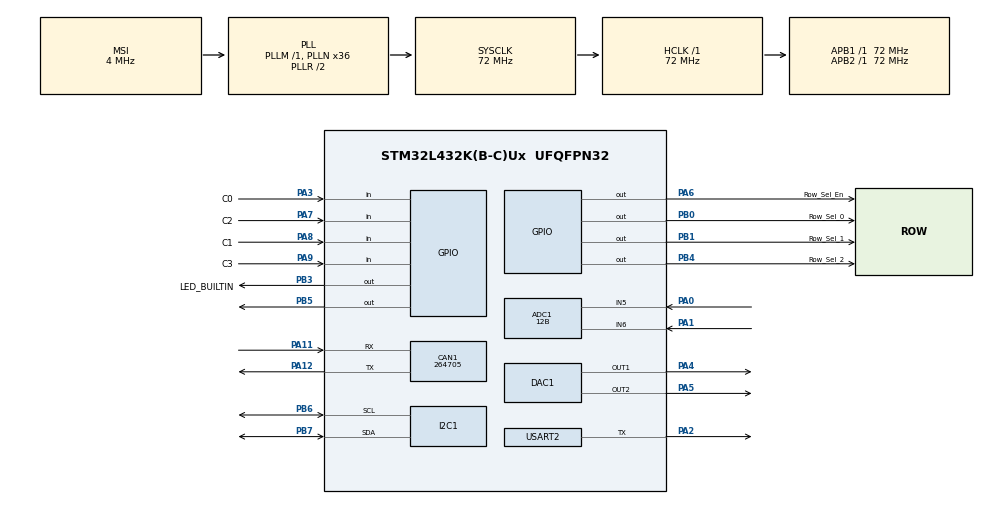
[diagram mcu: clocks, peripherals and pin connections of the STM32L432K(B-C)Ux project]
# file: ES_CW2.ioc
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ADC1.Channel-3\#ChannelRegularConversion=ADC_CHANNEL_5
ADC1.Channel-4\#ChannelRegularConversion=ADC_CHANNEL_6
ADC1.ContinuousConvMode=ENABLE
ADC1.DMAContinuousRequests=ENABLE
ADC1.DiscontinuousConvMode=DISABLE
ADC1.EOCSelection=ADC_EOC_SEQ_CONV
ADC1.EnableAnalogWatchDog1=false
ADC1.EnableRegularConversion=ENABLE
ADC1.ExternalTrigConv=ADC_SOFTWARE_START
ADC1.NbrOfConversion=2
ADC1.NbrOfConversionFlag=1
ADC1.OffsetNumber-3\#ChannelRegularConversion=ADC_OFFSET_NONE
ADC1.OffsetNumber-4\#ChannelRegularConversion=ADC_OFFSET_NONE
ADC1.Overrun=ADC_OVR_DATA_OVERWRITTEN
ADC1.Rank-3\#ChannelRegularConversion=1
ADC1.Rank-4\#ChannelRegularConversion=2
ADC1.Resolution=ADC_RESOLUTION_12B
ADC1.SamplingTime-3\#ChannelRegularConversion=ADC_SAMPLETIME_247CYCLES_5
ADC1.SamplingTime-4\#ChannelRegularConversion=ADC_SAMPLETIME_247CYCLES_5
ADC1.master=1
CAN1.BS1=CAN_BS1_8TQ
CAN1.BS2=CAN_BS2_8TQ
CAN1.CalculateBaudRate=264705
CAN1.CalculateTimeBit=3777
CAN1.CalculateTimeQuantum=222.22222222222223
DAC1.DAC_Channel-DAC_OUT2=DAC_CHANNEL_2
DAC1.DAC_Trigger-DAC_OUT1=DAC_TRIGGER_T7_TRGO
Dma.ADC1.0.Direction=DMA_PERIPH_TO_MEMORY
Dma.ADC1.0.Instance=DMA2_Channel3
Dma.ADC1.0.MemDataAlignment=DMA_MDATAALIGN_WORD
Dma.ADC1.0.MemInc=DMA_MINC_ENABLE
Dma.ADC1.0.Mode=DMA_CIRCULAR
Dma.ADC1.0.PeriphDataAlignment=DMA_PDATAALIGN_WORD
Dma.ADC1.0.PeriphInc=DMA_PINC_DISABLE
Dma.ADC1.0.Priority=DMA_PRIORITY_LOW
Dma.DAC_CH1.1.Direction=DMA_MEMORY_TO_PERIPH
Dma.DAC_CH1.1.Instance=DMA1_Channel3
Dma.DAC_CH1.1.MemDataAlignment=DMA_MDATAALIGN_WORD
Dma.DAC_CH1.1.MemInc=DMA_MINC_ENABLE
Dma.DAC_CH1.1.Mode=DMA_CIRCULAR
Dma.DAC_CH1.1.PeriphDataAlignment=DMA_PDATAALIGN_WORD
Dma.DAC_CH1.1.PeriphInc=DMA_PINC_DISABLE
Dma.DAC_CH1.1.Priority=DMA_PRIORITY_HIGH
Dma.Request0=ADC1
Dma.Request1=DAC_CH1
Dma.Request2=USART2_TX
Dma.USART2_TX.2.Direction=DMA_MEMORY_TO_PERIPH
Dma.USART2_TX.2.Instance=DMA1_Channel7
Dma.USART2_TX.2.MemDataAlignment=DMA_MDATAALIGN_BYTE
Dma.USART2_TX.2.MemInc=DMA_MINC_ENABLE
Dma.USART2_TX.2.Mode=DMA_NORMAL
Dma.USART2_TX.2.PeriphDataAlignment=DMA_PDATAALIGN_BYTE
Dma.USART2_TX.2.PeriphInc=DMA_PINC_DISABLE
Dma.USART2_TX.2.Priority=DMA_PRIORITY_MEDIUM
FREERTOS.Tasks01=defaultTask,24,128,StartDefaultTask,Default,NULL,Dynamic,NULL,NULL
FREERTOS.configENABLE_FPU=1
FREERTOS.configTOTAL_HEAP_SIZE=10000
I2C1.GeneralCallMode=I2C_GENERALCALL_ENABLE
I2C1.Timing=0x10808DD3
Mcu.Family=STM32L4
Mcu.Name=STM32L432K(B-C)Ux
Mcu.Package=UFQFPN32
NVIC.CAN1_RX0_IRQn=true\:5\:0\:false\:false\:true\:true\:true\:true
NVIC.CAN1_TX_IRQn=true\:5\:0\:false\:false\:true\:true\:true\:true
NVIC.DMA1_Channel3_IRQn=true\:5\:0\:false\:false\:true\:true\:false\:true
NVIC.DMA1_Channel7_IRQn=true\:5\:0\:false\:false\:true\:true\:false\:true
NVIC.DMA2_Channel3_IRQn=true\:5\:0\:false\:false\:true\:true\:false\:true
NVIC.PriorityGroup=NVIC_PRIORITYGROUP_4
NVIC.USART2_IRQn=true\:5\:0\:false\:false\:true\:true\:true\:true
PA0.Signal=ADCx_IN5
PA1.Signal=ADCx_IN6
PA11.Mode=CAN_Activate
PA11.Signal=CAN1_RX
PA12.Mode=CAN_Activate
PA12.Signal=CAN1_TX
PA2.Mode=Half_duplex(single_wire_mode)
PA2.Signal=USART2_TX
PA3.GPIO_Label=C0
PA3.Signal=GPIO_Input
PA4.Signal=COMP_DAC11_group
PA5.Signal=COMP_DAC12_group
PA6.GPIO_Label=Row_Sel_En
PA6.Signal=GPIO_Output
PA7.GPIO_Label=C2
PA7.Signal=GPIO_Input
PA8.GPIO_Label=C1
PA8.Signal=GPIO_Input
PA9.GPIO_Label=C3
PA9.Signal=GPIO_Input
PB0.GPIO_Label=Row_Sel_0
PB0.Signal=GPIO_Output
PB1.GPIO_Label=Row_Sel_1
PB1.Signal=GPIO_Output
PB3\ (JTDO-TRACESWO).GPIO_Label=LED_BUILTIN
PB3\ (JTDO-TRACESWO).Signal=GPIO_Output
PB4\ (NJTRST).GPIO_Label=Row_Sel_2
PB4\ (NJTRST).Signal=GPIO_Output
PB5.Signal=GPIO_Output
PB6.Mode=I2C
PB6.Signal=I2C1_SCL
PB7.Mode=I2C
PB7.Signal=I2C1_SDA
PC14-OSC32_IN\ (PC14).Mode=LSE-External-Oscillator
PC14-OSC32_IN\ (PC14).Signal=RCC_OSC32_IN
PC15-OSC32_OUT\ (PC15).Mode=LSE-External-Oscillator
PC15-OSC32_OUT\ (PC15).Signal=RCC_OSC32_OUT
ProjectManager.HeapSize=0x200
ProjectManager.StackSize=0x400
ProjectManager.TargetToolchain=Other Toolchains (GPDSC)
RCC.ADCFreq_Value=32000000
RCC.AHBFreq_Value=72000000
RCC.APB1Freq_Value=72000000
RCC.APB1TimFreq_Value=72000000
RCC.APB2Freq_Value=72000000
RCC.APB2TimFreq_Value=72000000
RCC.CortexFreq_Value=72000000
RCC.HCLKFreq_Value=72000000
RCC.HSE_VALUE=8000000
RCC.HSI48_VALUE=48000000
RCC.HSI_VALUE=16000000
RCC.MSIAutoCalibration=DISABLED
RCC.MSI_VALUE=4000000
RCC.PLLN=36
RCC.PLLSAI1N=16
RCC.SYSCLKFreq_VALUE=72000000
RCC.SYSCLKSource=RCC_SYSCLKSOURCE_PLLCLK
RCC.USBFreq_Value=32000000
RCC.VCOOutputFreq_Value=144000000
SH.ADCx_IN5.0=ADC1_IN5,IN5-Single-Ended
SH.ADCx_IN6.0=ADC1_IN6,IN6-Single-Ended
SH.COMP_DAC11_group.0=DAC1_OUT1,DAC_OUT1
SH.COMP_DAC12_group.0=DAC1_OUT2,DAC_OUT2
TIM1.Period=0xffff-1
TIM1.Prescaler=72-1
TIM2.Period=0xffffffff
TIM2.Prescaler=36000-1
TIM2.TIM_MasterOutputTrigger=TIM_TRGO_UPDATE
TIM6.Prescaler=144-1
TIM7.Period=3273
TIM7.TIM_MasterOutputTrigger=TIM_TRGO_UPDATE
USART2.AutoBaudRateEnableParam=UART_ADVFEATURE_AUTOBAUDRATE_DISABLE
USART2.BaudRate=460800
USART2.Mode=MODE_TX
USART2.OneBitSampling=UART_ONE_BIT_SAMPLE_ENABLE
USART2.OverrunDisableParam=ADVFEATURE_OVERRUN_DISABLE
USART2.VirtualMode-Half_duplex(single_wire_mode)=VM_ASYNC
VP_FREERTOS_VS_CMSIS_V2.Mode=CMSIS_V2
VP_TIM1_VS_ClockSourceINT.Mode=Internal
VP_TIM2_VS_ClockSourceINT.Mode=Internal
VP_TIM6_VS_ClockSourceINT.Mode=Enable_Timer
VP_TIM7_VS_ClockSourceINT.Mode=Enable_Timer
board=custom

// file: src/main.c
/* USER CODE BEGIN Header */
/**
  ******************************************************************************
  * @file           : main.c
  * @brief          : Main program body
  ******************************************************************************
  * @attention
  *
  * Copyright (c) 2022 STMicroelectronics.
  * All rights reserved.
  *
  * This software is licensed under terms that can be found in the LICENSE file
  * in the root directory of this software component.
  * If no LICENSE file comes with this software, it is provided AS-IS.
  *
  ******************************************************************************
  */
/* USER CODE END Header */
#include "main.h"
#include "cmsis_os.h"
#include "adc.h"
#include "can.h"
#include "dac.h"
#include "dma.h"
#include "i2c.h"
#include "tim.h"
#include "usart.h"
#include "gpio.h"

/* USER CODE BEGIN Includes */
#include "lcd.h"
#include "sawtooth.h"
#include "delay.h"
#include "keymat.h"
#include "joystick.h"
#include "can_comms.h"
#include <stdbool.h> // contains true and false
/* USER CODE END Includes */

/* USER CODE BEGIN PV */
volatile uint8_t playedNotes [9*12] = {0}; // Global variable which is used to access the state notes

volatile uint8_t volume = 3; // Global variable which stores volume of piano
volatile uint8_t octave = 4; // Global variable which stores octave of piano
volatile uint8_t sound = 0; // Global variable which stores sound type of piano
volatile ADC joystick;
volatile uint8_t reverb = 0;
volatile uint8_t isRecording = 0;

QueueHandle_t msgInQ;
QueueHandle_t msgOutQ;
SemaphoreHandle_t CAN_TX_Semaphore;

volatile uint8_t isMaster = true;
/* USER CODE END PV */

void SystemClock_Config(void);
void MX_FREERTOS_Init(void);

int main(void)
{

  /* MCU Configuration--------------------------------------------------------*/

  /* Reset of all peripherals, Initializes the Flash interface and the Systick. */
  HAL_Init();

  /* Configure the system clock */
  SystemClock_Config();

  /* USER CODE BEGIN SysInit */
  // NOTE: CubeMX has a bug where the DMA_init() is placed too late
  MX_DMA_Init();
  #define MX_DMA_Init()
  /* USER CODE END SysInit */

  /* Initialize all configured peripherals */
  MX_GPIO_Init();
  MX_CAN1_Init();
  MX_DAC1_Init();
  MX_ADC1_Init();
  MX_I2C1_Init();
  MX_TIM1_Init();
  MX_DMA_Init();
  MX_TIM6_Init();
  MX_TIM2_Init();
  MX_TIM7_Init();
  MX_USART2_UART_Init();
  /* USER CODE BEGIN 2 */
  HAL_TIM_Base_Start(&htim1); // Start TIM1
  HAL_TIM_Base_Start(&htim2); // Start TIM2 for FreeRTOS time stats
  HAL_TIM_Base_Start(&htim6); // TIM 6 will be used for time measurement
  // Initialise the DAC for
  HAL_DAC_Start(&hdac1,DAC_CHANNEL_1);

  HAL_Delay(1000); // Delay just after HAL init functions
  DEBUG_PRINT("HELLO WORLD");

  init_lcd();
  DEBUG_PRINT("Hello World!");
  init_sound();

  // Initialise CAN message queues
  msgInQ = xQueueCreate(36,8);
  if (msgInQ == NULL){
    DEBUG_PRINT("Error in creating msgInQ");
    while(1);
  } else {
    DEBUG_PRINT("msgInQ created successfuly");
    xQueueReset(msgInQ);
  }

  msgOutQ = xQueueCreate(36,8);
 if (msgOutQ == NULL){
    DEBUG_PRINT("Error in creating msgOutQ");
    while(1);
  } else {
    DEBUG_PRINT("msgOutQ created successfuly");
    xQueueReset(msgOutQ);
  }

  CAN_TX_Semaphore = xSemaphoreCreateCounting(3,3);

  // Initialize CAN bus
  setCANFilter(0x123, 0x7ff, 0);
  CAN_RegisterRX_ISR(CAN_RX_ISR);
  CAN_RegisterTX_ISR(CAN_TX_ISR);
  CAN_Start();

  /* USER CODE END 2 */

  /* Init scheduler */
  osKernelInitialize();  /* Call init function for freertos objects (in freertos.c) */
  MX_FREERTOS_Init();
  /* Start scheduler */
  osKernelStart();

  /* We should never get here as control is now taken by the scheduler */
  /* Infinite loop */

}

void SystemClock_Config(void)
{
  RCC_OscInitTypeDef RCC_OscInitStruct = {0};
  RCC_ClkInitTypeDef RCC_ClkInitStruct = {0};

  /** Configure the main internal regulator output voltage
  */
  if (HAL_PWREx_ControlVoltageScaling(PWR_REGULATOR_VOLTAGE_SCALE1) != HAL_OK)
  {
    Error_Handler();
  }
  /** Initializes the RCC Oscillators according to the specified parameters
  * in the RCC_OscInitTypeDef structure.
  */
  RCC_OscInitStruct.OscillatorType = RCC_OSCILLATORTYPE_MSI;
  RCC_OscInitStruct.MSIState = RCC_MSI_ON;
  RCC_OscInitStruct.MSICalibrationValue = 0;
  RCC_OscInitStruct.MSIClockRange = RCC_MSIRANGE_6;
  RCC_OscInitStruct.PLL.PLLState = RCC_PLL_ON;
  RCC_OscInitStruct.PLL.PLLSource = RCC_PLLSOURCE_MSI;
  RCC_OscInitStruct.PLL.PLLM = 1;
  RCC_OscInitStruct.PLL.PLLN = 36;
  RCC_OscInitStruct.PLL.PLLP = RCC_PLLP_DIV7;
  RCC_OscInitStruct.PLL.PLLQ = RCC_PLLQ_DIV2;
  RCC_OscInitStruct.PLL.PLLR = RCC_PLLR_DIV2;
  if (HAL_RCC_OscConfig(&RCC_OscInitStruct) != HAL_OK)
  {
    Error_Handler();
  }
  /** Initializes the CPU, AHB and APB buses clocks
  */
  RCC_ClkInitStruct.ClockType = RCC_CLOCKTYPE_HCLK|RCC_CLOCKTYPE_SYSCLK
                              |RCC_CLOCKTYPE_PCLK1|RCC_CLOCKTYPE_PCLK2;
  RCC_ClkInitStruct.SYSCLKSource = RCC_SYSCLKSOURCE_PLLCLK;
  RCC_ClkInitStruct.AHBCLKDivider = RCC_SYSCLK_DIV1;
  RCC_ClkInitStruct.APB1CLKDivider = RCC_HCLK_DIV1;
  RCC_ClkInitStruct.APB2CLKDivider = RCC_HCLK_DIV1;

  if (HAL_RCC_ClockConfig(&RCC_ClkInitStruct, FLASH_LATENCY_4) != HAL_OK)
  {
    Error_Handler();
  }
}

void Error_Handler(void)
{
  /* USER CODE BEGIN Error_Handler_Debug */
  /* User can add his own implementation to report the HAL error return state */
  __disable_irq();
  DEBUG_PRINT("ERROR");
  while (1)
  {
  }
  /* USER CODE END Error_Handler_Debug */
}

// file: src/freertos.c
/* USER CODE BEGIN Header */
/**
  ******************************************************************************
  * File Name          : freertos.c
  * Description        : Code for freertos applications
  ******************************************************************************
  * @attention
  *
  * Copyright (c) 2022 STMicroelectronics.
  * All rights reserved.
  *
  * This software is licensed under terms that can be found in the LICENSE file
  * in the root directory of this software component.
  * If no LICENSE file comes with this software, it is provided AS-IS.
  *
  ******************************************************************************
  */
/* USER CODE END Header */

#include "FreeRTOS.h"
#include "task.h"
#include "main.h"
#include "cmsis_os.h"

/* USER CODE BEGIN PD */
extern void start_lcd_thread();
extern void init_can_rx_decode();
extern void init_can_tx_decode();
extern void init_keydetect();
extern void init_joystick();
extern void init_run_time_stats();
/* USER CODE END PD */

/* Definitions for defaultTask */
osThreadId_t defaultTaskHandle;
const osThreadAttr_t defaultTask_attributes = {
  .name = "defaultTask",
  .stack_size = 128 * 4,
  .priority = (osPriority_t) osPriorityNormal,
};

void StartDefaultTask(void *argument);

void MX_FREERTOS_Init(void); /* (MISRA C 2004 rule 8.1) */

void MX_FREERTOS_Init(void) {

  /* USER CODE BEGIN RTOS_QUEUES */
  /* add queues, ... */

  // IMPORTANT: UNCOMMENT THE NEXT LINE OF CODE USING osThreadNew
  #define osThreadNew(a,b,c) NULL
  /* USER CODE END RTOS_QUEUES */

  /* Create the thread(s) */
  /* creation of defaultTask */
  defaultTaskHandle = osThreadNew(StartDefaultTask, NULL, &defaultTask_attributes);

  /* USER CODE BEGIN RTOS_THREADS */
  /* add threads, ... */
  // init_run_time_stats();
  // DEBUG_PRINT("Runtime stats Thread Started");
  start_lcd_thread();
  DEBUG_PRINT("LCD Thread Started");
  init_keydetect();
  DEBUG_PRINT("Keypress Detect Thread Started");
  init_joystick();
  DEBUG_PRINT("Joystick Detect Thread Started");
  init_can_rx_decode();
  DEBUG_PRINT("CAN Rx Buffer Thread Started");
  init_can_tx_decode();
  DEBUG_PRINT("CAN Tx Buffer Thread Started");
  /* USER CODE END RTOS_THREADS */

}

void StartDefaultTask(void *argument)
{
}
